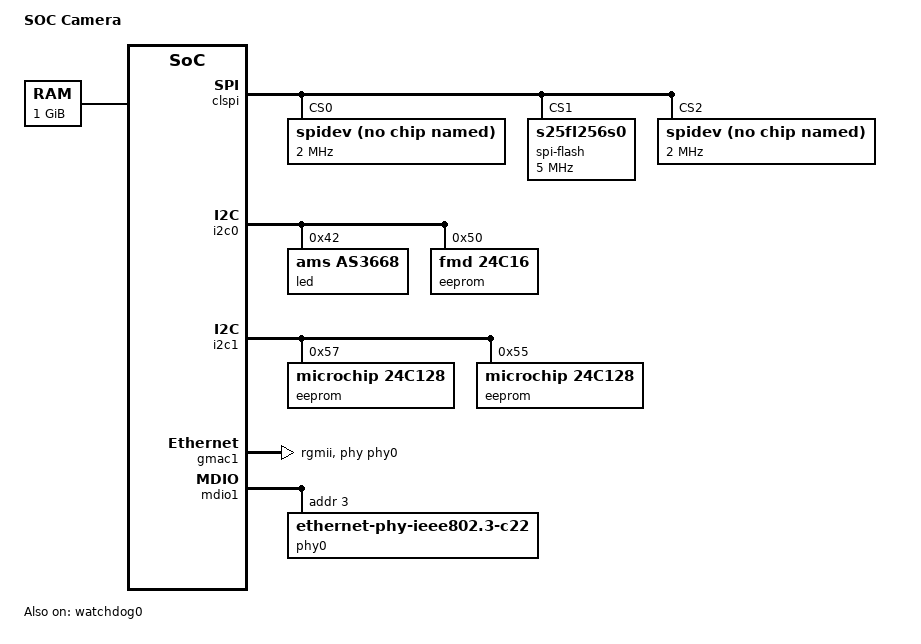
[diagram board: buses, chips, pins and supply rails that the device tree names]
/*
 *  Copyright (C) 2012 Altera Corporation <www.altera.com>
 *
 * This program is free software; you can redistribute it and/or modify
 * it under the terms of the GNU General Public License as published by
 * the Free Software Foundation; either version 2 of the License, or
 * (at your option) any later version.
 *
 * This program is distributed in the hope that it will be useful,
 * but WITHOUT ANY WARRANTY; without even the implied warranty of
 * MERCHANTABILITY or FITNESS FOR A PARTICULAR PURPOSE.  See the
 * GNU General Public License for more details.
 *
 * You should have received a copy of the GNU General Public License
 * along with this program.  If not, see <http://www.gnu.org/licenses/>.
 */

/dts-v1/;
#include "socfpga.dtsi"
#include <dt-bindings/interrupt-controller/irq.h>

/ {
	model = "SOC Camera";
	compatible = "altr,socfpga-cyclone5", "altr,socfpga";

	chosen {
		bootargs = "console=ttyS0,115200 root=/dev/mmcblk0p2 rw rootwait";
	};

	memory {
		name = "memory";
		device_type = "memory";
		reg = <0x0 0x40000000>; /* 1 GB */
	};

	aliases {
		/* this allow the ethaddr uboot environmnet variable contents
		 * to be added to the gmac1 device tree blob.
		 */
		ethernet0 = &gmac1;
	};

	soc {
		clkmgr@ffd04000 {
			clocks {
				osc1 {
					clock-frequency = <25000000>;
				};
			};
		};

		hps_lw_bus: bus@0ff200000 {
			compatible = "simple-bus";
			reg = <0xFF200000 0x00200000>;
			#address-cells = <1>;
			#size-cells = <1>;
			ranges = <0x0 0xFF200000 0x00200000>;
			status = "okay";

			sysid_qsys: sysid@000000 {
				compatible = "altr,sysid-1.0";
				reg = <0x000000 0x08>;
			};

			clspi: spi@00001000 {
				compatible = "cl,spi-1.0";
				#address-cells = <1>;
				#size-cells = <0>;
				reg = <0x00001000 0x0100>;
				interrupts = <0 42 4>;
				master-ref-clk = <50000000>;
				num-chipselect = <8>;
				bus-num = <3>;

				spidev@1 {
					spi-max-frequency = <2000000>;
					reg = <0>;
					compatible = "linux,spidev";
				};

				spi-flash@1 {
					#address-cells = <1>;
					#size-cells = <1>;
					compatible = "s25fl256s0";
					reg = <1>;
					spi-max-frequency = <5000000>;
				};

				spidev@2 {
					spi-max-frequency = <2000000>;
					reg = <2>;
					compatible = "linux,spidev";
				};
			};

			gpio3: gpio@00020000 {
				compatible = "cl,camio-1.0";
				reg = <0x00020000 0x20>;
				interrupts = <0 40 4>;
				virtual_irq_start = <342>;
				interrupt-controller;
				#interrupt-cells = <2>;
				gpio-controller;
				#gpio-cells = <2>;
			};
		};

		dwmmc0@ff704000 {
			num-slots = <1>;
			supports-highspeed;
			broken-cd;
			altr,dw-mshc-ciu-div = <3>;
			altr,dw-mshc-sdr-timing = <0 3>;

			slot@0 {
				reg = <0>;
				bus-width = <4>;
			};
		};

		i2c0: i2c@ffc04000 {
			speed-mode = <0>;
			status = "okay";
		};

		i2c1: i2c@ffc05000 {
			speed-mode = <0>;
			status = "okay";
		};

		timer0@ffc08000 {
			clock-frequency = <100000000>;
		};

		timer1@ffc09000 {
			clock-frequency = <100000000>;
		};

		timer2@ffd00000 {
			clock-frequency = <25000000>;
		};

		timer3@ffd01000 {
			clock-frequency = <25000000>;
		};

		serial0@ffc02000 {
			clock-frequency = <100000000>;
		};

		serial1@ffc03000 {
			clock-frequency = <100000000>;
		};

		sysmgr@ffd08000 {
			cpu1-start-addr = <0xffd080c4>;
		};

		gpio@ff708000 {
			status = "okay";
		};

		gpio@ff709000 {
			status = "okay";
			/* GPIO29->GPIO57.  AVDD_EN moved from GPIO50 to GPIO55 on custom board */
			gpio1: gpio-controller@0 {
				ngpios = <29>;
				gpio-line-names = "", "", "", "", "", "", "", "", "", "", "", "", "", "", "", "", "", "", "", "", "", "", "", "", "", "", "AVDD_EN";
			};
		};

		gpio@ff70a000 {
			status = "okay";
		};

		streamer0: streamer@20000000 {
			compatible = "uio,irq";
			interrupts = <0 41 4>;
		};
	};

};

&watchdog0 {
	status = "okay";
};

&i2c0 {
	/* on SOM */
	led@42 {
		device_type = "led";
		compatible = "ams,as3668";
		reg = <0x42>;
	};
	/* on SOM */
	eeprom@50 {
		compatible = "fmd,24c16";
		reg = <0x50>;
	};
};

&i2c1 {
	eeprom@57 {
		compatible = "microchip,24c128";
		reg = <0x57>;
	};

	/* on Ethernet Board, (temperature and EEPROM) */
	eeprom@55 {
		compatible = "microchip,24c128";
		reg = <0x55>;
	};
};

&gmac1 {
	status = "okay";
	phy-handle = <&phy0>;
	phy-mode = "rgmii";
	snps,max-mtu = <4062>;
	/* txc-skew-ps = <2600>; */
	/* rxdv-skew-ps = <0>; */
	/* rxc-skew-ps = <2000>; */
};

&mdio1 {
	status = "okay";
	#address-cells = <1>;
	#size-cells = <0>;
	phy0: ethernet-phy@0 {
		reg = <0x3>;
		device_type = "ethernet-phy";
		compatible = "ethernet-phy-ieee802.3-c22";
	};
};

